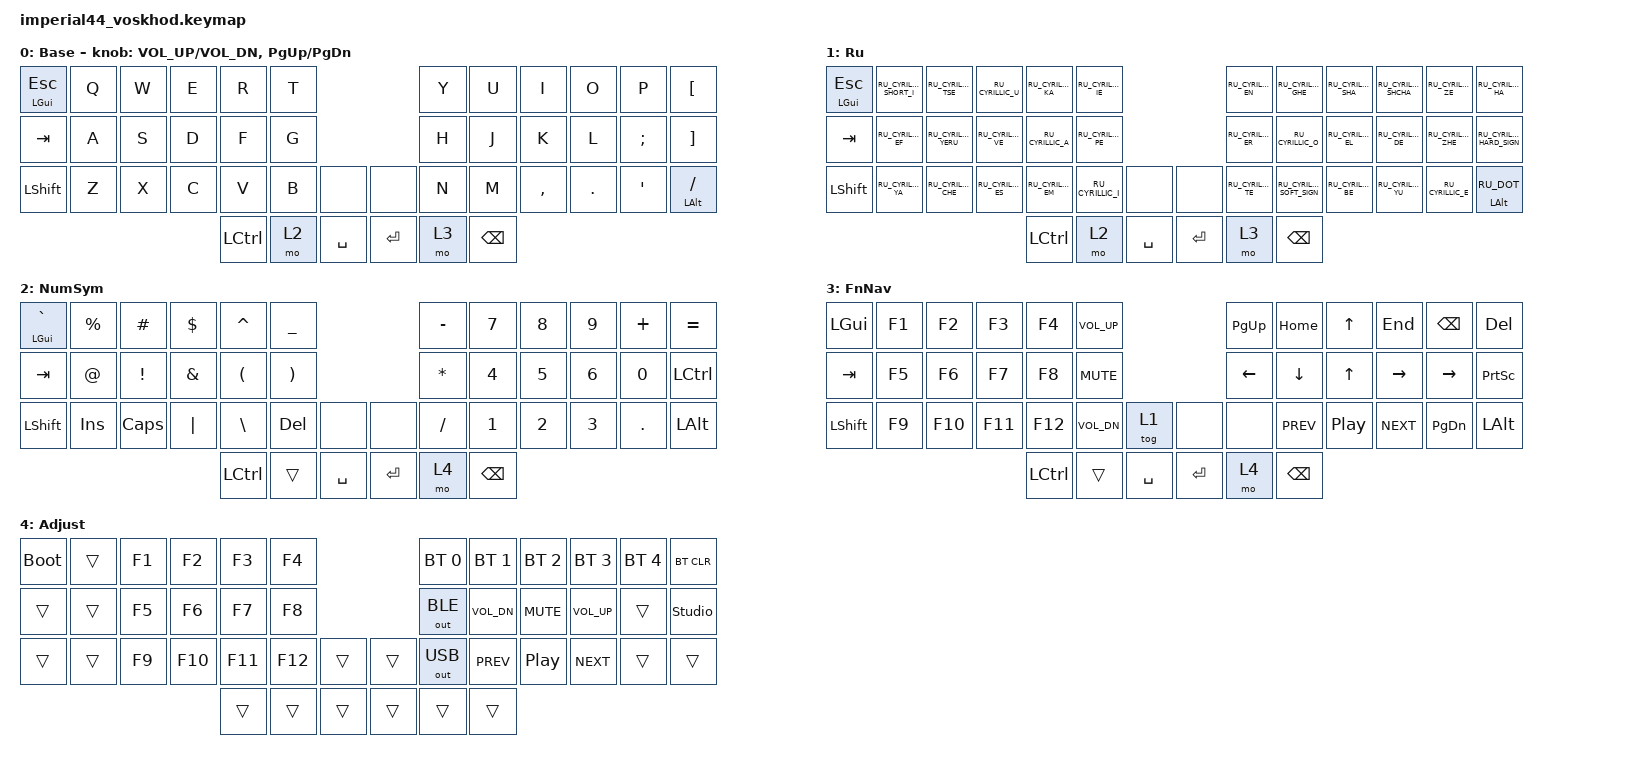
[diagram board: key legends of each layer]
#include "keys_ru.h"
#include <behaviors.dtsi>
#include <dt-bindings/zmk/bt.h>
#include <dt-bindings/zmk/keys.h>
#include <dt-bindings/zmk/outputs.h>

/ {
    combos {
        compatible = "zmk,combos";

        lang_tog_combo {
            bindings = <&as_tog>;
            key-positions = <24 37>;
            layers = <0 1>;
            timeout-ms = <80>;
        };
    };

    macros {
        as_tog: as_tog {
            compatible = "zmk,behavior-macro";
            #binding-cells = <0>;
            bindings =
                <&macro_press>,
                <&kp LALT>,
                <&macro_tap>,
                <&kp LSHIFT>,
                <&macro_release>,
                <&kp LALT &tog 1>;

            label = "AS_TOG";
            wait-ms = <0>;
            tap-ms = <30>;
        };
    };

    keymap {
        compatible = "zmk,keymap";

        base {
            bindings = <
&mt LGUI ESC  &kp Q  &kp W  &kp E  &kp R      &kp T                          &kp Y  &kp U          &kp I      &kp O    &kp P           &kp LBKT
&kp TAB       &kp A  &kp S  &kp D  &kp F      &kp G                          &kp H  &kp J          &kp K      &kp L    &kp SEMI        &kp RBKT
&kp LSHIFT    &kp Z  &kp X  &kp C  &kp V      &kp B  &none        &none      &kp N  &kp M          &kp COMMA  &kp DOT  &kp APOSTROPHE  &mt LALT SLASH
                                   &kp LCTRL  &mo 2  &kp SPACE    &kp ENTER  &mo 3  &kp BACKSPACE
            >;

            display-name = "Base";
            sensor-bindings =
                <&inc_dec_kp C_VOL_UP C_VOL_DN>,
                <&inc_dec_kp PG_UP PG_DN>;
        };

        ru {
            bindings = <
&mt LGUI ESC  &kp RU_CYRILLIC_SHORT_I  &kp RU_CYRILLIC_TSE   &kp RU_CYRILLIC_U   &kp RU_CYRILLIC_KA  &kp RU_CYRILLIC_IE                          &kp RU_CYRILLIC_EN  &kp RU_CYRILLIC_GHE        &kp RU_CYRILLIC_SHA  &kp RU_CYRILLIC_SHCHA  &kp RU_CYRILLIC_ZE   &kp RU_CYRILLIC_HA
&kp TAB       &kp RU_CYRILLIC_EF       &kp RU_CYRILLIC_YERU  &kp RU_CYRILLIC_VE  &kp RU_CYRILLIC_A   &kp RU_CYRILLIC_PE                          &kp RU_CYRILLIC_ER  &kp RU_CYRILLIC_O          &kp RU_CYRILLIC_EL   &kp RU_CYRILLIC_DE     &kp RU_CYRILLIC_ZHE  &kp RU_CYRILLIC_HARD_SIGN
&kp LSHIFT    &kp RU_CYRILLIC_YA       &kp RU_CYRILLIC_CHE   &kp RU_CYRILLIC_ES  &kp RU_CYRILLIC_EM  &kp RU_CYRILLIC_I   &none        &none      &kp RU_CYRILLIC_TE  &kp RU_CYRILLIC_SOFT_SIGN  &kp RU_CYRILLIC_BE   &kp RU_CYRILLIC_YU     &kp RU_CYRILLIC_E    &mt LALT RU_DOT
                                                                                 &kp LCTRL           &mo 2               &kp SPACE    &kp ENTER  &mo 3               &kp BACKSPACE
            >;

            display-name = "Ru";
        };

        num_sym {
            bindings = <
&mt LGUI GRAVE  &kp PRCNT   &kp HASH      &kp DLLR  &kp CARET  &kp UNDER                           &kp MINUS  &kp N7         &kp N8  &kp N9  &kp PLUS  &kp EQUAL
&kp TAB         &kp AT      &kp EXCL      &kp AMPS  &kp LPAR   &kp RPAR                            &kp STAR   &kp N4         &kp N5  &kp N6  &kp N0    &kp LCTRL
&kp LSHIFT      &kp INSERT  &kp CAPSLOCK  &kp PIPE  &kp BSLH   &kp DELETE  &none        &none      &kp FSLH   &kp N1         &kp N2  &kp N3  &kp DOT   &kp LALT
                                                    &kp LCTRL  &trans      &kp SPACE    &kp ENTER  &mo 4      &kp BACKSPACE
            >;

            display-name = "NumSym";
        };

        fn_nav_media {
            bindings = <
&kp LGUI    &kp F1  &kp F2   &kp F3   &kp F4     &kp C_VOL_UP                          &kp PG_UP       &kp HOME        &kp UP            &kp END          &kp BACKSPACE  &kp DELETE
&kp TAB     &kp F5  &kp F6   &kp F7   &kp F8     &kp C_MUTE                            &kp LEFT_ARROW  &kp DOWN_ARROW  &kp UP_ARROW      &kp RIGHT_ARROW  &kp RIGHT      &kp PRINTSCREEN
&kp LSHIFT  &kp F9  &kp F10  &kp F11  &kp F12    &kp C_VOL_DN  &tog 1       &none      &none           &kp C_PREV      &kp C_PLAY_PAUSE  &kp C_NEXT       &kp PG_DN      &kp LALT
                                      &kp LCTRL  &trans        &kp SPACE    &kp ENTER  &mo 4           &kp BACKSPACE
            >;

            display-name = "FnNav";
        };

        adj {
            bindings = <
&bootloader  &trans  &kp F1  &kp F2   &kp F3   &kp F4                     &bt BT_SEL 0  &bt BT_SEL 1  &bt BT_SEL 2      &bt BT_SEL 3  &bt BT_SEL 4  &bt BT_CLR
&trans       &trans  &kp F5  &kp F6   &kp F7   &kp F8                     &out OUT_BLE  &kp C_VOL_DN  &kp C_MUTE        &kp C_VOL_UP  &trans        &studio_unlock
&trans       &trans  &kp F9  &kp F10  &kp F11  &kp F12  &trans    &trans  &out OUT_USB  &kp C_PREV    &kp C_PLAY_PAUSE  &kp C_NEXT    &trans        &trans
                                      &trans   &trans   &trans    &trans  &trans        &trans
            >;

            display-name = "Adjust";
        };
    };
};
